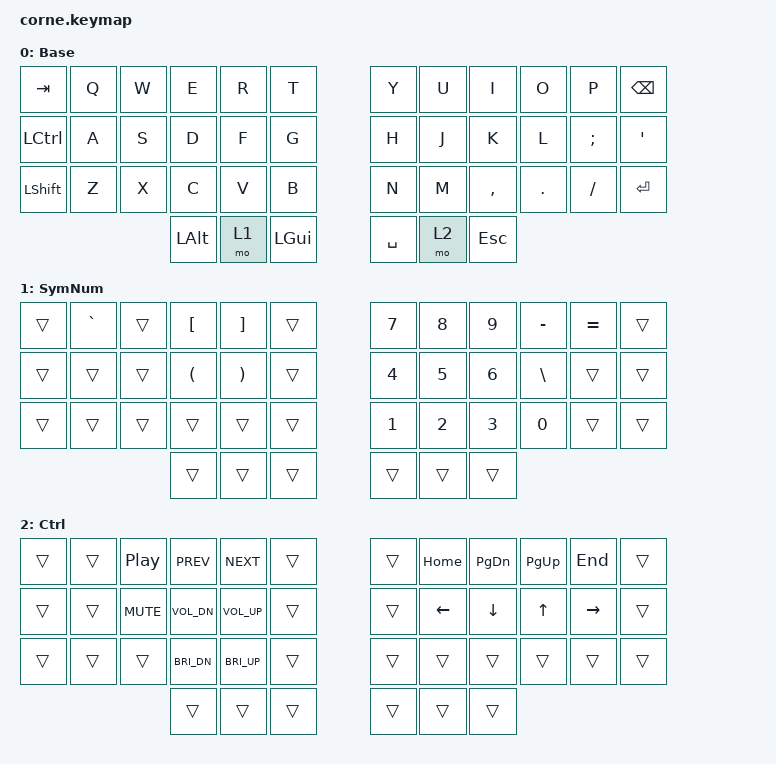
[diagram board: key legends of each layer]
/*
 * Copyright (c) 2020 The ZMK Contributors
 *
 * SPDX-License-Identifier: MIT
 */

#include <behaviors.dtsi>
#include <dt-bindings/zmk/keys.h>
#include <dt-bindings/zmk/bt.h>

/ {
        keymap {
                compatible = "zmk,keymap";

                default_layer {
												display-name = "Base";
// -----------------------------------------------------------------------------------------
// |  TAB |  Q  |  W  |  E  |  R  |  T  |   |  Y  |  U   |  I  |  O  |  P  | BSPC |
// | CTRL |  A  |  S  |  D  |  F  |  G  |   |  H  |  J   |  K  |  L  |  ;  |  '   |
// | SHFT |  Z  |  X  |  C  |  V  |  B  |   |  N  |  M   |  ,  |  .  |  /  | ENT  |
//                    | ALT | LWR | GUI |   | SPC | RSE  | ESC |
                        bindings = <
   &kp TAB   &kp Q &kp W &kp E &kp R &kp T   &kp Y &kp U  &kp I     &kp O   &kp P    &kp BSPC
   &kp LCTRL &kp A &kp S &kp D &kp F &kp G   &kp H &kp J  &kp K     &kp L   &kp SEMI &kp SQT
   &kp LSHFT &kp Z &kp X &kp C &kp V &kp B   &kp N &kp M  &kp COMMA &kp DOT &kp FSLH &kp RET
                  &kp LALT &mo 1 &kp LGUI   &kp SPACE &mo 2 &kp ESC
                        >;
                };

                lower_layer {
												display-name = "SymNum";
// -----------------------------------------------------------------------------------------
// |  TAB |  `  |     |  [  |  ]  |     |   |  7  |  8  |  9  |  -  |  =  | BSPC |
// |  ESC |     |     |  (  |  )  |     |   |  4  |  5  |  6  |  \  |     |      |
// | SHFT |     |     |     |     |     |   |  1  |  2  |  3  |  0  |     | LCTRL|
//                    | ALT |     | GUI |   | SPC |     | ENT |
                        bindings = <
   &trans &kp GRAVE &trans  &kp LBKT  &kp RBKT  &trans     &kp N7    &kp N8  &kp N9  &kp MINUS &kp EQUAL &trans
   &trans &trans    &trans  &kp LPAR  &kp RPAR  &trans     &kp N4    &kp N5  &kp N6  &kp BSLH  &trans    &trans
   &trans &trans    &trans  &trans    &trans    &trans     &kp N1    &kp N2  &kp N3  &kp N0    &trans    &trans
                            &trans    &trans    &trans     &trans    &trans  &trans
                        >;
                };

                raise_layer {
												display-name = "Ctrl";
// -----------------------------------------------------------------------------------------
// |  TAB |     | P/P |PREV |NEXT |     |   |     | HOME|PG_DN|PG_UP| END | BSPC |
// |  ESC |     |MUTE |VOLDN|VOLUP|     |   |     | LEFT|DOWN | UP  |RIGHT|      | 
// | SHFT |     |     |SCRUP|SCRDW|     |   |     |     |     |     |     |      |
//                    | ALT |     | GUI |   | SPC |     | ENT |
                        bindings = <
   &trans &trans &kp C_PP   &kp C_PREV   &kp C_NEXT   &trans     &trans    &kp HOME &kp PG_DN &kp PG_UP &kp END   &trans
   &trans &trans &kp C_MUTE &kp C_VOL_DN &kp C_VOL_UP &trans     &trans    &kp LEFT &kp DOWN  &kp UP    &kp RIGHT &trans 
   &trans &trans &trans     &kp C_BRI_DN &kp C_BRI_UP &trans     &trans    &trans   &trans    &trans    &trans    &trans
                            &trans       &trans       &trans     &trans    &trans   &trans
                        >;
                };

        };
};
